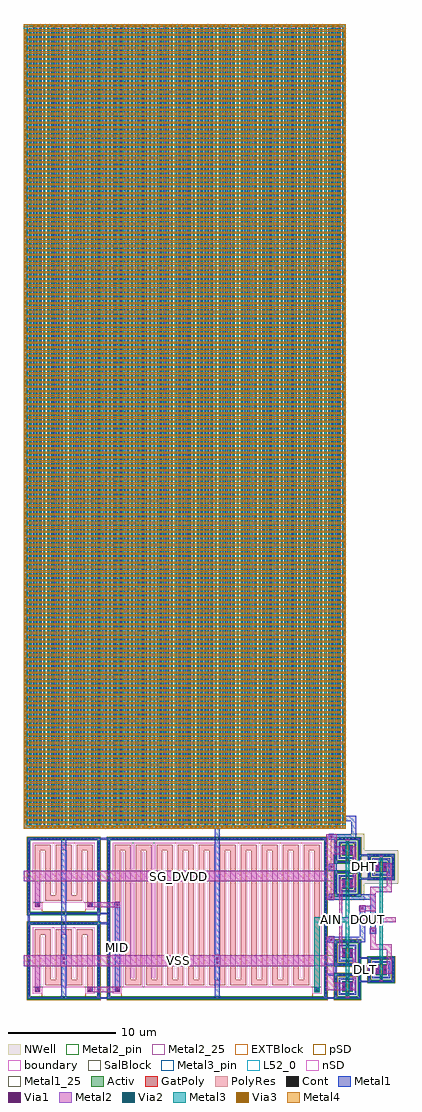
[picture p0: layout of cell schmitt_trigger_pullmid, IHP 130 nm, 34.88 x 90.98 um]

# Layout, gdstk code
import gdstk
lib = gdstk.Library(unit=1e-6, precision=1e-09)
def R(c, l, rs):  # rectangles x0, y0, x1, y1
    for r in rs: c.add(gdstk.rectangle(r[:2], r[2:], *l))
def A(c, l, x, y, w, h, nx, ny, dx, dy):  # array of equal rectangles
    R(c, l, [(x+i*dx, y+j*dy, x+i*dx+w, y+j*dy+h) for i in range(nx) for j in range(ny)])
Activ = (1, 0)
GatPoly = (5, 0)
Cont = (6, 0)
nSD = (7, 0)
Metal1 = (8, 0)
Metal1_25 = (8, 25)
Metal2 = (10, 0)
Metal2_pin = (10, 2)
Metal2_25 = (10, 25)
pSD = (14, 0)
Via1 = (19, 0)
SalBlock = (28, 0)
Via2 = (29, 0)
Metal3 = (30, 0)
Metal3_pin = (30, 2)
NWell = (31, 0)
Via3 = (49, 0)
Metal4 = (50, 0)
L52_0 = (52, 0)
EXTBlock = (111, 0)
PolyRes = (128, 0)
boundary = (189, 4)

sg13_lv_pmos_lw5m92 = lib.new_cell('sg13_lv_pmos_LW5M92')
R(sg13_lv_pmos_lw5m92, Activ, [(-1.26,-1.24,1.26,-0.94), (-1.26,-0.94,-0.96,0.94), (0.96,-0.94,1.26,0.94), (-0.49,-0.5,0.49,0.5), (-1.26,0.94,1.26,1.24)])
R(sg13_lv_pmos_lw5m92, GatPoly, [(-0.15,-0.87,0.15,0.87)])
A(sg13_lv_pmos_lw5m92, Cont, -0.76, -1.17, 0.16, 0.16, 5, 2, 0.34, 2.18)
A(sg13_lv_pmos_lw5m92, Cont, -1.19, -0.76, 0.16, 0.16, 1, 5, 0, 0.34)
A(sg13_lv_pmos_lw5m92, Cont, 1.03, -0.76, 0.16, 0.16, 1, 5, 0, 0.34)
A(sg13_lv_pmos_lw5m92, Cont, -0.42, -0.42, 0.16, 0.16, 1, 3, 0, 0.34)
A(sg13_lv_pmos_lw5m92, Cont, 0.26, -0.42, 0.16, 0.16, 1, 3, 0, 0.34)
R(sg13_lv_pmos_lw5m92, Cont, [(-0.08,-0.8,0.08,-0.64), (-0.08,0.64,0.08,0.8)])
R(sg13_lv_pmos_lw5m92, Metal1, [(-1.19,-1.17,1.19,-1.01), (-1.19,-1.01,-1.03,1.01), (1.03,-1.01,1.19,1.01), (-0.83,-0.8,0.83,-0.64), (-0.83,-0.64,-0.67,0.64), (0.67,-0.64,0.83,0.64), (-0.47,-0.43,-0.21,0.43), (0.21,-0.43,0.47,0.43), (-0.83,0.64,0.83,0.8), (-1.19,1.01,1.19,1.17)])
R(sg13_lv_pmos_lw5m92, pSD, [(-0.45,-0.8,0.45,-0.68), (-0.67,-0.68,0.67,0.68), (-0.45,0.68,0.45,0.8)])
R(sg13_lv_pmos_lw5m92, NWell, [(-1.57,-1.55,1.57,1.55)])
R(sg13_lv_pmos_lw5m92, boundary, [(-1.11,-1.09,1.11,1.09)])
sg13_lv_pmos_lw5m92.add(gdstk.Label('B', (0,-1.09), layer=8, texttype=25))
sg13_lv_pmos_lw5m92.add(gdstk.Label('D', (-0.34,0), layer=8, texttype=25))
sg13_lv_pmos_lw5m92.add(gdstk.Label('S', (0.34,0), layer=8, texttype=25))
sg13_lv_pmos_lw5m92.add(gdstk.Label('G', (0,0.72), layer=8, texttype=25))

sg13_lv_nmos_swus4l = lib.new_cell('sg13_lv_nmos_SWUS4L')
R(sg13_lv_nmos_swus4l, Activ, [(-1.26,-1.24,1.26,-0.94), (-1.26,-0.94,-0.96,0.94), (0.96,-0.94,1.26,0.94), (-0.49,-0.5,0.49,0.5), (-1.26,0.94,1.26,1.24)])
R(sg13_lv_nmos_swus4l, GatPoly, [(-0.15,-0.87,0.15,0.87)])
A(sg13_lv_nmos_swus4l, Cont, -0.76, -1.17, 0.16, 0.16, 5, 2, 0.34, 2.18)
A(sg13_lv_nmos_swus4l, Cont, -1.19, -0.76, 0.16, 0.16, 1, 5, 0, 0.34)
A(sg13_lv_nmos_swus4l, Cont, 1.03, -0.76, 0.16, 0.16, 1, 5, 0, 0.34)
A(sg13_lv_nmos_swus4l, Cont, -0.42, -0.42, 0.16, 0.16, 1, 3, 0, 0.34)
A(sg13_lv_nmos_swus4l, Cont, 0.26, -0.42, 0.16, 0.16, 1, 3, 0, 0.34)
R(sg13_lv_nmos_swus4l, Cont, [(-0.08,-0.8,0.08,-0.64), (-0.08,0.64,0.08,0.8)])
R(sg13_lv_nmos_swus4l, Metal1, [(-1.19,-1.17,1.19,-1.01), (-1.19,-1.01,-1.03,1.01), (1.03,-1.01,1.19,1.01), (-0.83,-0.8,0.83,-0.64), (-0.83,-0.64,-0.67,0.64), (0.67,-0.64,0.83,0.64), (-0.47,-0.43,-0.21,0.43), (0.21,-0.43,0.47,0.43), (-0.83,0.64,0.83,0.8), (-1.19,1.01,1.19,1.17)])
R(sg13_lv_nmos_swus4l, pSD, [(-1.29,-1.27,1.29,-0.91), (-1.29,-0.91,-0.93,0.91), (0.93,-0.91,1.29,0.91), (-1.29,0.91,1.29,1.27)])
R(sg13_lv_nmos_swus4l, boundary, [(-1.11,-1.09,1.11,1.09)])
sg13_lv_nmos_swus4l.add(gdstk.Label('B', (0,-1.09), layer=8, texttype=25))
sg13_lv_nmos_swus4l.add(gdstk.Label('D', (-0.34,0), layer=8, texttype=25))
sg13_lv_nmos_swus4l.add(gdstk.Label('S', (0.34,0), layer=8, texttype=25))
sg13_lv_nmos_swus4l.add(gdstk.Label('G', (0,0.72), layer=8, texttype=25))

rhigh_3nqfrr_fixed = lib.new_cell('rhigh_3NQFRR_fixed')
R(rhigh_3nqfrr_fixed, Activ, [(35.245,21.075,42.065,21.375), (35.245,21.375,35.545,28.045), (41.765,21.375,42.065,28.045), (35.245,28.045,42.065,28.345)])
R(rhigh_3nqfrr_fixed, GatPoly, [(35.955,21.785,36.455,22.215), (40.855,21.785,41.355,22.215)])
A(rhigh_3nqfrr_fixed, Cont, 35.855, 21.145, 0.16, 0.16, 17, 2, 0.34, 6.97)
A(rhigh_3nqfrr_fixed, Cont, 35.315, 21.57, 0.16, 0.16, 1, 19, 0, 0.34)
A(rhigh_3nqfrr_fixed, Cont, 41.835, 21.57, 0.16, 0.16, 1, 19, 0, 0.34)
R(rhigh_3nqfrr_fixed, Cont, [(36.025,21.855,36.385,22.015), (40.925,21.855,41.285,22.015)])
A(rhigh_3nqfrr_fixed, nSD, 36.755, 23.095, 0.86, 3.86, 4, 1, 0.98, 0)
A(rhigh_3nqfrr_fixed, nSD, 35.775, 26.955, 1.84, 0.86, 3, 1, 1.96, 0)
R(rhigh_3nqfrr_fixed, nSD, [(35.775,21.605,36.635,26.955), (40.675,21.605,41.535,26.955), (36.755,22.235,38.595,23.095), (38.715,22.235,40.555,23.095)])
R(rhigh_3nqfrr_fixed, Metal1, [(35.315,21.145,41.995,21.305), (35.315,21.305,35.475,28.115), (41.835,21.305,41.995,28.115), (35.975,21.855,36.435,22.015), (40.875,21.855,41.335,22.015), (35.315,28.115,41.995,28.275)])
R(rhigh_3nqfrr_fixed, pSD, [(35.215,21.045,42.095,21.405), (35.215,21.405,36.635,22.235), (40.675,21.405,42.095,22.235), (35.215,22.235,42.095,28.375)])
R(rhigh_3nqfrr_fixed, SalBlock, [(35.755,22.215,41.555,27.835)])
A(rhigh_3nqfrr_fixed, L52_0, 36.935, 22.915, 0.5, 4.22, 4, 1, 0.98, 0)
A(rhigh_3nqfrr_fixed, L52_0, 35.955, 27.135, 1.48, 0.5, 3, 1, 1.96, 0)
R(rhigh_3nqfrr_fixed, L52_0, [(35.955,22.215,36.455,27.135), (40.855,22.215,41.355,27.135), (36.935,22.415,38.415,22.915), (38.895,22.415,40.375,22.915)])
R(rhigh_3nqfrr_fixed, EXTBlock, [(35.775,21.605,36.635,22.235), (40.675,21.605,41.535,22.235), (35.775,22.235,41.535,27.815)])
A(rhigh_3nqfrr_fixed, PolyRes, 36.935, 22.915, 0.5, 4.22, 4, 1, 0.98, 0)
A(rhigh_3nqfrr_fixed, PolyRes, 35.955, 27.135, 1.48, 0.5, 3, 1, 1.96, 0)
R(rhigh_3nqfrr_fixed, PolyRes, [(35.955,22.215,36.455,27.135), (40.855,22.215,41.355,27.135), (36.935,22.415,38.415,22.915), (38.895,22.415,40.375,22.915)])
R(rhigh_3nqfrr_fixed, boundary, [(35.395,21.225,41.915,28.195)])
rhigh_3nqfrr_fixed.add(gdstk.Label('B', (38.655,21.225), layer=8, texttype=25))
rhigh_3nqfrr_fixed.add(gdstk.Label('R1', (36.205,21.935), layer=8, texttype=25))
rhigh_3nqfrr_fixed.add(gdstk.Label('R2', (41.105,21.935), layer=8, texttype=25))

rhigh_trtmct_fixed = lib.new_cell('rhigh_TRTMCT_fixed')
R(rhigh_trtmct_fixed, Activ, [(41.2,15.32,61.74,15.62), (41.2,15.62,41.5,30.18), (61.44,15.62,61.74,30.18), (41.2,30.18,61.74,30.48)])
R(rhigh_trtmct_fixed, GatPoly, [(41.91,16.03,42.41,16.46), (60.53,16.03,61.03,16.46)])
A(rhigh_trtmct_fixed, Cont, 41.7, 15.39, 0.16, 0.16, 58, 2, 0.34, 14.86)
A(rhigh_trtmct_fixed, Cont, 41.27, 15.85, 0.16, 0.16, 1, 42, 0, 0.34)
A(rhigh_trtmct_fixed, Cont, 61.51, 15.85, 0.16, 0.16, 1, 42, 0, 0.34)
R(rhigh_trtmct_fixed, Cont, [(41.98,16.1,42.34,16.26), (60.6,16.1,60.96,16.26)])
A(rhigh_trtmct_fixed, nSD, 42.71, 16.48, 1.84, 0.86, 9, 1, 1.96, 0)
A(rhigh_trtmct_fixed, nSD, 42.71, 17.34, 0.86, 11.75, 18, 1, 0.98, 0)
A(rhigh_trtmct_fixed, nSD, 41.73, 29.09, 1.84, 0.86, 10, 1, 1.96, 0)
R(rhigh_trtmct_fixed, nSD, [(41.73,15.85,42.59,29.09), (60.35,15.85,61.21,29.09)])
R(rhigh_trtmct_fixed, Metal1, [(41.27,15.39,61.67,15.55), (41.27,15.55,41.43,30.25), (61.51,15.55,61.67,30.25), (41.93,16.1,42.39,16.26), (60.55,16.1,61.01,16.26), (41.27,30.25,61.67,30.41)])
R(rhigh_trtmct_fixed, pSD, [(41.17,15.29,61.77,15.65), (41.17,15.65,42.59,16.48), (60.35,15.65,61.77,16.48), (41.17,16.48,61.77,30.51)])
R(rhigh_trtmct_fixed, SalBlock, [(41.71,16.46,61.23,29.97)])
A(rhigh_trtmct_fixed, L52_0, 42.89, 16.66, 1.48, 0.5, 9, 1, 1.96, 0)
A(rhigh_trtmct_fixed, L52_0, 42.89, 17.16, 0.5, 12.11, 18, 1, 0.98, 0)
A(rhigh_trtmct_fixed, L52_0, 41.91, 29.27, 1.48, 0.5, 10, 1, 1.96, 0)
R(rhigh_trtmct_fixed, L52_0, [(41.91,16.46,42.41,29.27), (60.53,16.46,61.03,29.27)])
R(rhigh_trtmct_fixed, EXTBlock, [(41.73,15.85,42.59,16.48), (60.35,15.85,61.21,16.48), (41.73,16.48,61.21,29.95)])
A(rhigh_trtmct_fixed, PolyRes, 42.89, 16.66, 1.48, 0.5, 9, 1, 1.96, 0)
A(rhigh_trtmct_fixed, PolyRes, 42.89, 17.16, 0.5, 12.11, 18, 1, 0.98, 0)
A(rhigh_trtmct_fixed, PolyRes, 41.91, 29.27, 1.48, 0.5, 10, 1, 1.96, 0)
R(rhigh_trtmct_fixed, PolyRes, [(41.91,16.46,42.41,29.27), (60.53,16.46,61.03,29.27)])
R(rhigh_trtmct_fixed, boundary, [(41.35,15.47,61.59,30.33)])
rhigh_trtmct_fixed.add(gdstk.Label('B', (51.47,15.47), layer=8, texttype=25))
rhigh_trtmct_fixed.add(gdstk.Label('R1', (42.16,16.18), layer=8, texttype=25))
rhigh_trtmct_fixed.add(gdstk.Label('R2', (60.78,16.18), layer=8, texttype=25))

cap_cmomf_y6pzha = lib.new_cell('cap_cmomf_Y6PZHA')
A(cap_cmomf_y6pzha, Metal1, 0.47, 0.21, 0.16, 74.4, 43, 1, 0.68, 0)
A(cap_cmomf_y6pzha, Metal1, 0.81, 0.39, 0.16, 74.4, 43, 1, 0.68, 0)
R(cap_cmomf_y6pzha, Metal1, [(0,0,29.53,0.21), (29.71,0,30,74.79), (0,0.21,0.29,75), (0.47,74.79,30,75)])
A(cap_cmomf_y6pzha, Metal2, 0, 0.29, 0.205, 0.62, 1, 90, 0, 0.82)
A(cap_cmomf_y6pzha, Metal2, 0.42, 0.5, 29.58, 0.2, 1, 91, 0, 0.82)
A(cap_cmomf_y6pzha, Metal2, 29.795, 0.7, 0.205, 0.62, 1, 90, 0, 0.82)
A(cap_cmomf_y6pzha, Metal2, 0, 0.91, 29.58, 0.2, 1, 90, 0, 0.82)
R(cap_cmomf_y6pzha, Metal2, [(0,0,30,0.29), (0,74.09,0.205,74.5), (29.795,74.5,30,74.71), (0,74.71,30,75)])
A(cap_cmomf_y6pzha, Via1, 0.76, 0.01, 0.19, 0.19, 70, 1, 0.41, 0)
A(cap_cmomf_y6pzha, Via1, 0.01, 0.61, 0.19, 0.19, 1, 180, 0, 0.41)
A(cap_cmomf_y6pzha, Via1, 29.8, 0.81, 0.19, 0.19, 1, 180, 0, 0.41)
A(cap_cmomf_y6pzha, Via1, 0.86, 74.8, 0.19, 0.19, 70, 1, 0.41, 0)
A(cap_cmomf_y6pzha, Via2, 0.76, 0.005, 0.19, 0.19, 70, 1, 0.41, 0)
A(cap_cmomf_y6pzha, Via2, 0.005, 0.61, 0.19, 0.19, 1, 180, 0, 0.41)
A(cap_cmomf_y6pzha, Via2, 29.805, 0.81, 0.19, 0.19, 1, 180, 0, 0.41)
A(cap_cmomf_y6pzha, Via2, 0.86, 74.805, 0.19, 0.19, 70, 1, 0.41, 0)
A(cap_cmomf_y6pzha, Metal3, 0.55, 0.2, 0.2, 74.39, 36, 1, 0.82, 0)
A(cap_cmomf_y6pzha, Metal3, 0.96, 0.41, 0.2, 74.39, 35, 1, 0.82, 0)
R(cap_cmomf_y6pzha, Metal3, [(0,0,29.45,0.2), (29.66,0,30,74.8), (0,0.2,0.34,75), (0.55,74.8,30,75)])
A(cap_cmomf_y6pzha, Via3, 0.76, 0.005, 0.19, 0.19, 70, 1, 0.41, 0)
A(cap_cmomf_y6pzha, Via3, 0.005, 0.61, 0.19, 0.19, 1, 180, 0, 0.41)
A(cap_cmomf_y6pzha, Via3, 29.805, 0.81, 0.19, 0.19, 1, 180, 0, 0.41)
A(cap_cmomf_y6pzha, Via3, 0.86, 74.805, 0.19, 0.19, 70, 1, 0.41, 0)
A(cap_cmomf_y6pzha, Metal4, 0, 0.29, 0.2, 0.62, 1, 90, 0, 0.82)
A(cap_cmomf_y6pzha, Metal4, 0.41, 0.5, 29.59, 0.2, 1, 91, 0, 0.82)
A(cap_cmomf_y6pzha, Metal4, 29.8, 0.7, 0.2, 0.62, 1, 90, 0, 0.82)
A(cap_cmomf_y6pzha, Metal4, 0, 0.91, 29.59, 0.2, 1, 90, 0, 0.82)
R(cap_cmomf_y6pzha, Metal4, [(0,0,30,0.29), (0,74.09,0.2,74.5), (29.8,74.5,30,74.71), (0,74.71,30,75)])
R(cap_cmomf_y6pzha, boundary, [(0,0,30,75)])
cap_cmomf_y6pzha.add(gdstk.Label('c1', (0.01,37.5), layer=50, texttype=25))
cap_cmomf_y6pzha.add(gdstk.Label('c2', (15,74.99), layer=50, texttype=25))

schmitt_trigger_pullmid = lib.new_cell('schmitt_trigger_pullmid')
R(schmitt_trigger_pullmid, Metal1, [(0.38,0.38,31.36,0.54), (0.38,0.54,0.54,7.35), (3.47,0.54,3.97,3.445), (6.9,0.54,7.06,7.35), (7.82,0.54,7.98,7.35), (17.77,0.54,18.27,3.445), (28.06,0.54,28.22,2.56), (28.98,0.54,29.14,2.56), (31.2,0.54,31.36,1.93), (30.025,0.725,30.315,0.935), (1.02,1.02,1.52,1.52), (5.92,1.02,6.42,1.52), (8.46,1.02,8.96,8.91), (27.08,1.02,27.58,1.52), (29.68,1.12,29.98,1.98), (30.36,1.12,30.66,1.98), (31.2,1.93,34.5,2.09), (31.2,2.09,31.36,2.56), (32.12,2.09,32.28,4.11), (34.34,2.09,34.5,4.11), (30.025,2.165,30.315,2.375), (33.165,2.275,33.455,2.485), (28.06,2.56,31.36,2.72), (32.82,2.67,33.12,3.53), (33.5,2.67,33.8,3.53), (28.06,2.72,28.22,3.48), (28.98,2.72,29.14,3.48), (31.2,2.72,31.36,3.48), (3.43,3.445,4.01,4.445), (17.73,3.445,18.31,4.445), (28.06,3.48,31.36,3.64), (28.06,3.64,28.22,5.66), (28.98,3.64,29.14,5.615), (31.2,3.64,31.36,4.11), (33.165,3.715,33.455,3.925), (30.025,3.825,30.315,4.035), (31.2,4.11,34.5,4.27), (29.68,4.22,29.98,5.08), (30.36,4.22,30.66,5.08), (31.2,4.27,31.36,5.66), (3.47,4.445,3.97,7.35), (17.77,4.445,18.27,15.24), (30.025,5.265,30.315,5.475), (28.41,5.615,29.14,5.66), (28.06,5.66,31.805,5.82), (28.06,5.82,28.22,15.24), (28.41,5.82,31.805,6.16), (28.41,6.16,28.91,6.205), (31.295,6.16,31.805,8.565), (32.255,6.465,32.845,6.965), (32.295,6.965,32.805,9.62), (0.38,7.35,7.98,7.51), (0.38,7.51,0.54,8.27), (3.47,7.51,3.97,8.27), (6.9,7.51,7.06,8.27), (7.82,7.51,7.98,8.27), (0.38,8.27,7.98,8.43), (0.38,8.43,0.54,15.24), (3.47,8.43,3.97,15.24), (6.9,8.43,7.06,15.24), (7.82,8.43,7.98,15.24), (31.255,8.565,31.845,9.065), (1.02,8.91,1.52,9.41), (5.92,8.91,6.42,9.41), (8.42,8.91,9,9.41), (28.405,9.575,28.905,9.62), (28.405,9.62,32.805,10.12), (28.405,10.12,29.14,10.165), (31.2,10.12,31.36,11.51), (28.98,10.165,29.14,12.14), (30.025,10.305,30.315,10.515), (29.68,10.7,29.98,11.56), (30.36,10.7,30.66,11.56), (31.2,11.51,34.5,11.67), (31.2,11.67,31.36,12.14), (32.12,11.67,32.28,13.69), (34.34,11.67,34.5,13.69), (30.025,11.745,30.315,11.955), (33.165,11.855,33.455,12.065), (28.98,12.14,31.36,12.3), (32.82,12.25,33.12,13.11), (33.5,12.25,33.8,13.11), (28.98,12.3,29.14,12.39), (31.2,12.3,31.36,13.06), (28.4,12.39,29.14,12.97), (28.98,12.97,29.14,13.06), (28.98,13.06,31.36,13.22), (28.98,13.22,29.14,15.195), (31.2,13.22,31.36,13.69), (33.165,13.295,33.455,13.505), (30.025,13.405,30.315,13.615), (31.2,13.69,34.5,13.85), (29.68,13.8,29.98,14.66), (30.36,13.8,30.66,14.66), (31.2,13.85,31.36,15.24), (30.06,14.845,30.28,14.85), (30.025,14.85,30.315,15.05), (30.06,15.05,30.28,15.055), (28.405,15.195,29.14,15.24), (0.38,15.24,28.22,15.4), (28.405,15.24,31.36,15.4), (17.77,15.4,18.27,16.26), (28.405,15.4,31,15.74), (28.405,15.74,28.905,15.785), (30.5,15.74,31,16.96), (30,16.96,31,17.46)])
R(schmitt_trigger_pullmid, Metal1_25, [(8.46,1.02,8.96,9.41)])
R(schmitt_trigger_pullmid, Metal2, [(30.02,0.5,30.32,0.98), (1.02,1.02,1.52,3.445), (5.92,1.02,8.96,1.52), (27.08,1.02,27.58,1.52), (28.18,1.19,29.98,1.91), (30.36,1.19,30.96,1.91), (28.18,1.91,28.9,3.445), (30.66,1.91,30.96,2.74), (33.16,2.05,33.46,2.53), (30.02,2.12,30.32,2.6), (30.66,2.74,33.12,3.46), (33.5,2.74,34.3,3.46), (3.475,3.405,3.965,3.445), (17.775,3.405,18.265,3.445), (0,3.445,28.9,3.62), (30.66,3.46,30.96,4.29), (33.8,3.46,34.3,4.96), (30.02,3.6,30.32,4.08), (0,3.62,28.905,4.445), (33.16,3.67,33.46,4.15), (29.38,4.29,29.98,5.01), (30.36,4.29,30.96,5.01), (3.475,4.445,3.965,4.485), (17.775,4.445,18.265,4.485), (28.18,4.445,28.905,5.66), (32.3,4.96,34.3,5.46), (29.38,5.01,29.68,7.515), (30.02,5.22,30.32,5.7), (32.3,5.46,32.8,7.005), (28.18,5.66,28.95,6.16), (33.16,7.47,33.46,7.515), (29.38,7.515,34.665,8.015), (29.38,8.015,29.68,10.77), (33.16,8.015,33.46,8.06), (31.3,8.525,31.8,8.57), (31.3,8.57,32.8,9.07), (8.465,8.87,8.955,8.91), (1.02,8.91,1.52,11.335), (5.92,8.91,8.96,9.41), (31.3,9.07,31.8,9.105), (32.3,9.07,32.8,10.32), (8.465,9.41,8.955,9.45), (28.18,9.62,28.945,10.12), (30.02,10.08,30.32,10.56), (28.18,10.12,28.9,11.335), (32.3,10.32,34.3,10.82), (29.38,10.77,29.98,11.49), (30.36,10.77,30.96,11.49), (33.8,10.82,34.3,12.32), (0,11.335,28.9,12.335), (30.66,11.49,30.96,12.32), (33.16,11.63,33.46,12.11), (30.02,11.7,30.32,12.18), (30.66,12.32,33.12,13.04), (33.5,12.32,34.3,13.04), (28.18,12.335,28.9,12.435), (28.18,12.435,28.94,12.925), (28.18,12.925,28.9,13.87), (30.66,13.04,30.96,13.87), (30.02,13.18,30.32,13.66), (33.16,13.25,33.46,13.73), (28.18,13.87,29.98,14.59), (30.36,13.87,30.96,14.59), (28.18,14.59,29.14,15.74), (30.02,14.8,30.32,15.28)])
R(schmitt_trigger_pullmid, Metal2_pin, [(0,3.445,28.9,4.445), (29.38,7.515,34.665,8.015), (0,11.335,28.9,12.335)])
R(schmitt_trigger_pullmid, Metal2_25, [(30.66,2.74,32.87,3.46), (30.66,12.32,32.87,13.04)])
R(schmitt_trigger_pullmid, Via1, [(30.075,0.735,30.265,0.925), (1.175,1.175,1.365,1.365), (6.075,1.175,6.265,1.365), (8.615,1.175,8.805,1.365), (27.235,1.175,27.425,1.365), (29.735,1.25,29.925,1.44), (30.415,1.25,30.605,1.44), (29.735,1.66,29.925,1.85), (30.415,1.66,30.605,1.85), (30.075,2.175,30.265,2.365), (33.215,2.285,33.405,2.475), (32.875,2.8,33.065,2.99), (33.555,2.8,33.745,2.99), (32.875,3.21,33.065,3.4), (33.555,3.21,33.745,3.4), (3.625,3.645,3.815,3.835), (17.925,3.645,18.115,3.835), (33.215,3.725,33.405,3.915), (30.075,3.835,30.265,4.025), (3.625,4.055,3.815,4.245), (17.925,4.055,18.115,4.245), (29.735,4.35,29.925,4.54), (30.415,4.35,30.605,4.54), (29.735,4.76,29.925,4.95), (30.415,4.76,30.605,4.95), (30.075,5.275,30.265,5.465), (28.565,5.815,28.755,6.005), (32.455,6.62,32.645,6.81), (31.455,8.72,31.645,8.91), (1.175,9.065,1.365,9.255), (6.075,9.065,6.265,9.255), (8.615,9.065,8.805,9.255), (28.56,9.775,28.75,9.965), (30.075,10.315,30.265,10.505), (29.735,10.83,29.925,11.02), (30.415,10.83,30.605,11.02), (29.735,11.24,29.925,11.43), (30.415,11.24,30.605,11.43), (30.075,11.755,30.265,11.945), (33.215,11.865,33.405,12.055), (32.875,12.38,33.065,12.57), (33.555,12.38,33.745,12.57), (28.555,12.585,28.745,12.775), (32.875,12.79,33.065,12.98), (33.555,12.79,33.745,12.98), (33.215,13.305,33.405,13.495), (30.075,13.415,30.265,13.605), (29.735,13.93,29.925,14.12), (30.415,13.93,30.605,14.12), (29.735,14.34,29.925,14.53), (30.415,14.34,30.605,14.53), (30.075,14.855,30.265,15.045), (28.56,15.395,28.75,15.585)])
R(schmitt_trigger_pullmid, Via2, [(30.075,0.735,30.265,0.925), (27.235,1.175,27.425,1.365), (30.075,2.175,30.265,2.365), (33.215,2.285,33.405,2.475), (33.215,3.725,33.405,3.915), (30.075,3.835,30.265,4.025), (30.075,5.275,30.265,5.465), (33.215,7.67,33.405,7.86), (30.075,10.315,30.265,10.505), (30.075,11.755,30.265,11.945), (33.215,11.865,33.405,12.055), (33.215,13.305,33.405,13.495), (30.075,13.415,30.265,13.605), (30.075,14.855,30.265,15.045)])
R(schmitt_trigger_pullmid, Metal3, [(30.02,0.68,30.32,7.515), (27.08,1.02,27.58,7.515), (33.16,2.23,33.46,7.515), (27.08,7.515,30.32,8.015), (33.115,7.515,33.505,8.015), (30.02,8.015,30.32,15.1), (33.16,8.015,33.46,13.55)])
R(schmitt_trigger_pullmid, Metal3_pin, [(27.08,7.515,30.32,8.015)])
schmitt_trigger_pullmid.add(gdstk.Reference(sg13_lv_pmos_lw5m92, (30.17,11.13)))
schmitt_trigger_pullmid.add(gdstk.Reference(sg13_lv_nmos_swus4l, (30.17,4.65)))
schmitt_trigger_pullmid.add(gdstk.Reference(sg13_lv_pmos_lw5m92, (30.17,14.23)))
schmitt_trigger_pullmid.add(gdstk.Reference(sg13_lv_nmos_swus4l, (30.17,1.55)))
schmitt_trigger_pullmid.add(gdstk.Reference(sg13_lv_pmos_lw5m92, (33.31,12.68)))
schmitt_trigger_pullmid.add(gdstk.Reference(sg13_lv_nmos_swus4l, (33.31,3.1)))
schmitt_trigger_pullmid.add(gdstk.Reference(rhigh_3nqfrr_fixed, (-34.935,-20.765)))
schmitt_trigger_pullmid.add(gdstk.Reference(rhigh_3nqfrr_fixed, (-34.935,-12.875)))
schmitt_trigger_pullmid.add(gdstk.Reference(rhigh_trtmct_fixed, (-33.45,-15.01)))
schmitt_trigger_pullmid.add(gdstk.Reference(cap_cmomf_y6pzha, (0,16.26)))
schmitt_trigger_pullmid.add(gdstk.Label('DHT', (31.765,12.68), layer=10, texttype=25))
schmitt_trigger_pullmid.add(gdstk.Label('DLT', (31.765,3.1), layer=10, texttype=25))
schmitt_trigger_pullmid.add(gdstk.Label('MID', (8.71,5.215), layer=8, texttype=25))
schmitt_trigger_pullmid.add(gdstk.Label('SG_DVDD', (14.45,11.835), layer=10, texttype=25))
schmitt_trigger_pullmid.add(gdstk.Label('AIN', (28.7,7.765), layer=30, texttype=25))
schmitt_trigger_pullmid.add(gdstk.Label('DOUT', (32.022,7.765), layer=10, texttype=25))
schmitt_trigger_pullmid.add(gdstk.Label('VSS', (14.45,3.945), layer=10, texttype=25))

lib.write_gds('schmitt_trigger_pullmid.gds')
